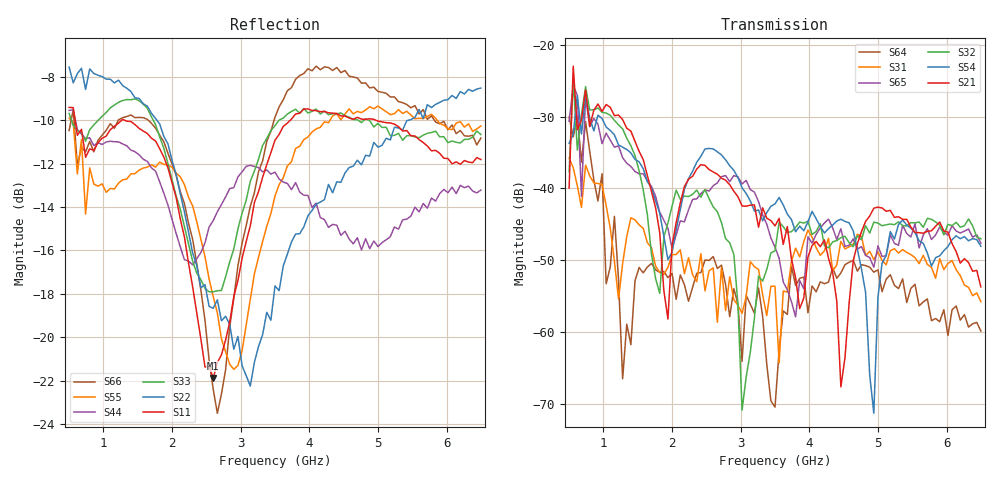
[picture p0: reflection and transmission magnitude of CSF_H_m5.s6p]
!Keysight Technologies,M9804A,MY58100912,A.14.10.03
!Date: Thursday, April 27, 2023 10:28:33
!Correction: S11(C  6-Port  )
!S12(C  6-Port  )
!S13(C  6-Port  )
!S14(C  6-Port  )
!S15(C  6-Port  )
!S16(C  6-Port  )
!S21(C  6-Port  )
!S22(C  6-Port  )
!S23(C  6-Port  )
!S24(C  6-Port  )
!S25(C  6-Port  )
!S26(C  6-Port  )
!S31(C  6-Port  )
!S32(C  6-Port  )
!S33(C  6-Port  )
!S34(C  6-Port  )
!S35(C  6-Port  )
!S36(C  6-Port  )
!S41(C  6-Port  )
!S42(C  6-Port  )
!S43(C  6-Port  )
!S44(C  6-Port  )
!S45(C  6-Port  )
!S46(C  6-Port  )
!S51(C  6-Port  )
!S52(C  6-Port  )
!S53(C  6-Port  )
!S54(C  6-Port  )
!S55(C  6-Port  )
!S56(C  6-Port  )
!S61(C  6-Port  )
!S62(C  6-Port  )
!S63(C  6-Port  )
!S64(C  6-Port  )
!S65(C  6-Port  )
!S66(C  6-Port  )
!S6P File: Measurement: :
# Hz S  RI  R 50
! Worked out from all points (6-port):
!   101 points, 500 MHz to 6.5 GHz, reference 50 ohm
!   strongest paths, dB at 500 MHz, 2 GHz, 3.5 GHz, 5 GHz, 6.5 GHz:
!     S21: -39.9, -48.0, -45.2, -42.6, -53.7
!     S54: -33.7, -48.9, -42.2, -55.2, -48.0
!     S32: -37.7, -42.5, -48.7, -44.8, -47.0
!     S65: -30.6, -48.4, -48.2, -48.0, -47.6
!     S31: -35.8, -49.2, -53.6, -48.9, -55.8
!     S64: -30.1, -51.8, -70.5, -51.3, -59.9
!   lowest |S11| = -21.9 dB at 2.6 GHz (marker M1), VSWR 1.18, Z = 42.8 + j1.97 ohm
!   |S11| at or under -10 dB: 586.9 MHz to 1.269 GHz (682.1 MHz wide, 73.5 % of centre); 1.302 GHz to 3.725 GHz (2.423 GHz wide, 96.4 % of centre); 4.965 GHz to end of sweep
